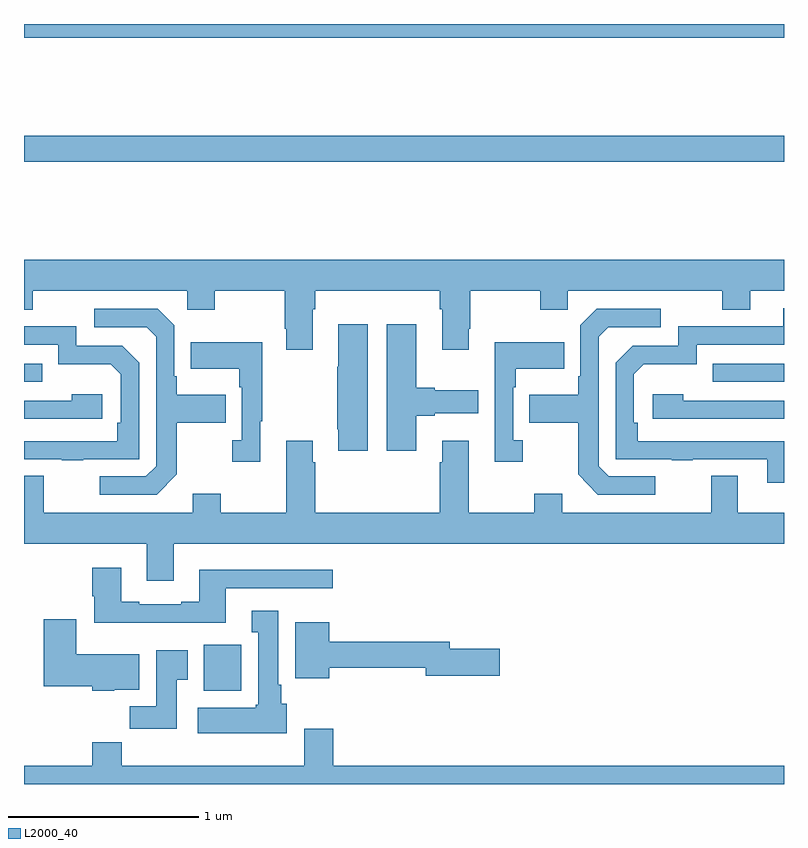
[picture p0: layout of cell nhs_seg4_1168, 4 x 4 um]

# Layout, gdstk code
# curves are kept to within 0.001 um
import gdstk
lib = gdstk.Library(unit=1e-6, precision=1e-09)
def R(c, l, rs):  # rectangles x0, y0, x1, y1
    for r in rs: c.add(gdstk.rectangle(r[:2], r[2:], *l))
def P(c, l, *ps):  # polygons
    for p in ps: c.add(gdstk.Polygon(p, *l))
L2000_40 = (2000, 40)

nhs_seg4_1168 = lib.new_cell('nhs_seg4_1168')
R(nhs_seg4_1168, L2000_40, [(171.947,785.39,172.144,785.632), (171,787.017,171.095,787.113), (174.625,787.017,175,787.113), (171,788.176,175,788.312), (171,788.828,175,788.9)])
P(nhs_seg4_1168, L2000_40, [(172.519,787.4),(172.532,787.4),(172.532,787.496),(173.189,787.496),(173.189,787.4),(173.201,787.4),(173.201,787.185),(173.341,787.185),(173.341,787.297),(173.349,787.297),(173.349,787.496),(173.716,787.496),(173.716,787.397),(173.862,787.397),(173.862,787.496),(174.676,787.496),(174.676,787.397),(174.823,787.397),(174.823,787.496),(175,787.496),(175,787.66),(171,787.66),(171,787.397),(171.045,787.397),(171.045,787.496),(171.858,787.496),(171.858,787.397),(172.005,787.397),(172.005,787.496),(172.372,787.496),(172.372,787.297),(172.379,787.297),(172.379,787.185),(172.519,787.185)],
  [(175,786.704),(174.23,786.705),(174.23,786.802),(174.21,786.802),(174.21,787.056),(174.263,787.109),(174.54,787.109),(174.54,787.212),(175,787.212),(175,787.404),(174.995,787.404),(174.995,787.308),(174.444,787.308),(174.444,787.206),(174.204,787.206),(174.114,787.116),(174.114,786.609),(174.409,786.609),(174.409,786.604),(174.521,786.604),(174.521,786.609),(174.911,786.609),(174.911,786.486),(175,786.486)],
  [(174.322,786.519),(174.078,786.519),(174.024,786.573),(174.024,787.254),(174.075,787.305),(174.352,787.305),(174.352,787.401),(174.015,787.401),(173.928,787.314),(173.928,787.045),(173.916,787.045),(173.916,786.949),(173.659,786.949),(173.659,786.802),(173.916,786.802),(173.916,786.529),(174.021,786.423),(174.322,786.423)],
  [(171.805,786.529),(171.805,786.802),(172.061,786.802),(172.061,786.949),(171.805,786.949),(171.805,787.045),(171.792,787.045),(171.792,787.314),(171.705,787.401),(171.369,787.401),(171.369,787.305),(171.645,787.305),(171.696,787.254),(171.696,786.573),(171.642,786.519),(171.399,786.519),(171.399,786.423),(171.699,786.423)],
  [(172.81,787.321),(172.655,787.321),(172.655,787.097),(172.648,787.097),(172.648,786.766),(172.655,786.766),(172.655,786.654),(172.81,786.654)],
  [(173.065,786.839),(173.161,786.839),(173.161,786.851),(173.392,786.851),(173.392,786.973),(173.161,786.973),(173.161,786.986),(173.065,786.986),(173.065,787.321),(172.91,787.321),(172.91,786.654),(173.065,786.654)],
  [(171.311,786.609),(171.606,786.609),(171.606,787.116),(171.516,787.206),(171.276,787.206),(171.276,787.308),(171,787.308),(171,787.212),(171.18,787.212),(171.18,787.109),(171.457,787.109),(171.51,787.056),(171.51,786.802),(171.49,786.802),(171.49,786.705),(171,786.705),(171,786.609),(171.199,786.609),(171.199,786.604),(171.311,786.604)],
  [(173.626,786.71),(173.574,786.71),(173.574,786.989),(173.587,786.989),(173.587,787.085),(173.843,787.085),(173.843,787.225),(173.478,787.225),(173.478,786.597),(173.626,786.597)],
  [(172.243,786.809),(172.255,786.809),(172.255,787.225),(171.877,787.225),(171.877,787.085),(172.134,787.085),(172.134,786.989),(172.146,786.989),(172.146,786.71),(172.095,786.71),(172.095,786.597),(172.243,786.597)],
  [(175,786.918),(174.47,786.918),(174.47,786.952),(174.309,786.952),(174.309,786.822),(175,786.822)],
  [(171.412,786.952),(171.251,786.952),(171.251,786.918),(171,786.918),(171,786.822),(171.412,786.822)],
  [(171.787,786.164),(175,786.164),(175,786.328),(174.757,786.328),(174.757,786.523),(174.617,786.523),(174.617,786.328),(173.833,786.328),(173.833,786.427),(173.686,786.427),(173.686,786.328),(173.341,786.328),(173.341,786.706),(173.201,786.706),(173.201,786.593),(173.189,786.593),(173.189,786.328),(172.532,786.328),(172.532,786.593),(172.519,786.593),(172.519,786.706),(172.379,786.706),(172.379,786.328),(172.035,786.328),(172.035,786.427),(171.887,786.427),(171.887,786.328),(171.103,786.328),(171.103,786.523),(171,786.523),(171,786.164),(171.647,786.164),(171.647,785.97),(171.787,785.97)],
  [(172.063,785.931),(172.624,785.931),(172.624,786.028),(171.923,786.028),(171.923,785.86),(171.827,785.86),(171.827,785.847),(171.607,785.847),(171.607,785.86),(171.511,785.86),(171.511,786.037),(171.359,786.037),(171.359,785.889),(171.371,785.889),(171.371,785.75),(172.063,785.75)],
  [(172.384,785.322),(172.354,785.322),(172.354,785.422),(172.339,785.422),(172.339,785.812),(172.199,785.812),(172.199,785.699),(172.232,785.699),(172.232,785.316),(172.219,785.316),(172.219,785.302),(171.915,785.302),(171.915,785.168),(172.384,785.168)],
  [(171.474,785.396),(171.607,785.396),(171.607,785.584),(171.274,785.584),(171.274,785.767),(171.104,785.767),(171.104,785.414),(171.36,785.414),(171.36,785.39),(171.474,785.39)],
  [(172.606,785.512),(173.114,785.512),(173.114,785.47),(173.503,785.47),(173.503,785.612),(173.242,785.612),(173.242,785.648),(172.606,785.648),(172.606,785.752),(172.427,785.752),(172.427,785.456),(172.606,785.456)],
  [(171.805,785.449),(171.862,785.449),(171.862,785.605),(171.695,785.605),(171.695,785.308),(171.556,785.308),(171.556,785.19),(171.805,785.19)],
  [(175,784.996),(172.628,784.996),(172.628,785.191),(172.475,785.191),(172.475,784.996),(171.515,784.996),(171.515,785.12),(171.359,785.12),(171.359,784.996),(171,784.996),(171,784.9),(175,784.9)])

lib.write_gds('nhs_seg4_1168.gds')
